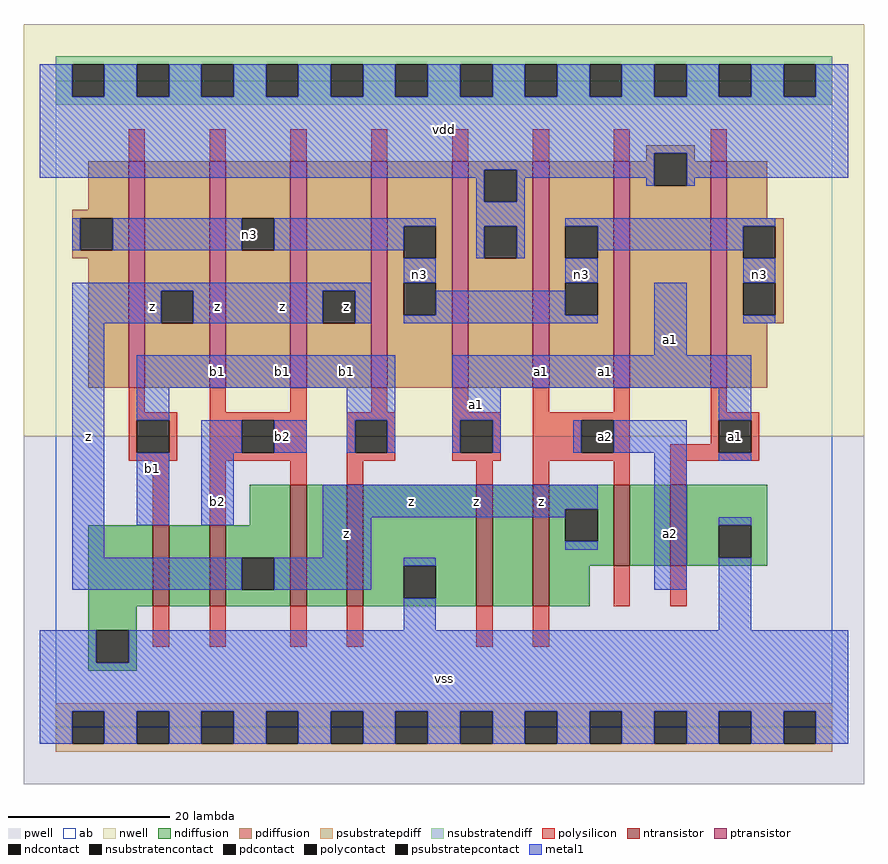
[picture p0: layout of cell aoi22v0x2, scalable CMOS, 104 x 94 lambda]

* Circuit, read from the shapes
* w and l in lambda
.subckt aoi22v0x2 a1 a2 b1 b2 n3 vdd vss z
M1 n1 b1 vss vss nfet w=10 l=2
M2 z b2 n1 vss nfet w=10 l=2
M3 n2 b2 z vss nfet w=15 l=2
M4 vss b1 n2 vss nfet w=15 l=2
M5 n4 a1 vss vss nfet w=15 l=2
M6 z a2 n4 vss nfet w=15 l=2
M7 n5 a2 z vss nfet w=10 l=2
M8 vss a1 n5 vss nfet w=10 l=2
M9 z b1 n3 vdd pfet w=28 l=2 m=2
M10 n3 b2 z vdd pfet w=28 l=2 m=2
M11 vdd a1 n3 vdd pfet w=28 l=2 m=2
M12 n3 a2 vdd vdd pfet w=28 l=2 m=2
.ends

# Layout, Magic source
magic
tech scmos
<< ab >>
rect 0 0 96 80
<< pwell >>
rect -4 -7 100 36
<< nwell >>
rect -4 36 100 87
<< polysilicon >>
rect 9 70 11 74
rect 19 70 21 74
rect 29 70 31 74
rect 39 70 41 74
rect 49 70 51 74
rect 59 70 61 74
rect 69 70 71 74
rect 81 70 83 74
rect 9 39 11 42
rect 19 39 21 42
rect 29 39 31 42
rect 39 39 41 42
rect 49 39 51 42
rect 59 39 61 42
rect 69 39 71 42
rect 9 38 15 39
rect 9 34 10 38
rect 14 34 15 38
rect 9 33 15 34
rect 19 38 31 39
rect 19 34 23 38
rect 27 34 31 38
rect 19 33 31 34
rect 12 25 14 33
rect 19 25 21 33
rect 29 30 31 33
rect 36 38 42 39
rect 36 34 37 38
rect 41 34 42 38
rect 36 33 42 34
rect 49 38 55 39
rect 49 34 50 38
rect 54 34 55 38
rect 49 33 55 34
rect 59 38 71 39
rect 59 34 65 38
rect 69 34 71 38
rect 81 39 83 42
rect 81 38 87 39
rect 81 35 82 38
rect 59 33 71 34
rect 36 30 38 33
rect 52 30 54 33
rect 59 30 61 33
rect 69 30 71 33
rect 76 34 82 35
rect 86 34 87 38
rect 76 33 87 34
rect 76 30 78 33
rect 69 15 71 20
rect 76 15 78 20
rect 12 10 14 15
rect 19 10 21 15
rect 29 10 31 15
rect 36 10 38 15
rect 52 10 54 15
rect 59 10 61 15
<< ndiffusion >>
rect 24 25 29 30
rect 4 15 12 25
rect 14 15 19 25
rect 21 21 29 25
rect 21 17 23 21
rect 27 17 29 21
rect 21 15 29 17
rect 31 15 36 30
rect 38 20 52 30
rect 38 16 43 20
rect 47 16 52 20
rect 38 15 52 16
rect 54 15 59 30
rect 61 27 69 30
rect 61 23 63 27
rect 67 23 69 27
rect 61 20 69 23
rect 71 20 76 30
rect 78 25 88 30
rect 78 21 82 25
rect 86 21 88 25
rect 78 20 88 21
rect 61 15 66 20
rect 4 12 10 15
rect 4 8 5 12
rect 9 8 10 12
rect 4 7 10 8
<< pdiffusion >>
rect 73 71 79 72
rect 73 70 74 71
rect 4 64 9 70
rect 2 63 9 64
rect 2 59 3 63
rect 7 59 9 63
rect 2 58 9 59
rect 4 42 9 58
rect 11 54 19 70
rect 11 50 13 54
rect 17 50 19 54
rect 11 42 19 50
rect 21 63 29 70
rect 21 59 23 63
rect 27 59 29 63
rect 21 42 29 59
rect 31 54 39 70
rect 31 50 33 54
rect 37 50 39 54
rect 31 42 39 50
rect 41 62 49 70
rect 41 58 43 62
rect 47 58 49 62
rect 41 55 49 58
rect 41 51 43 55
rect 47 51 49 55
rect 41 42 49 51
rect 51 69 59 70
rect 51 65 53 69
rect 57 65 59 69
rect 51 62 59 65
rect 51 58 53 62
rect 57 58 59 62
rect 51 42 59 58
rect 61 62 69 70
rect 61 58 63 62
rect 67 58 69 62
rect 61 55 69 58
rect 61 51 63 55
rect 67 51 69 55
rect 61 42 69 51
rect 71 67 74 70
rect 78 70 79 71
rect 78 67 81 70
rect 71 42 81 67
rect 83 63 88 70
rect 83 62 90 63
rect 83 58 85 62
rect 89 58 90 62
rect 83 55 90 58
rect 83 51 85 55
rect 89 51 90 55
rect 83 50 90 51
rect 83 42 88 50
<< metal1 >>
rect -2 78 2 82
rect 6 78 10 82
rect 14 78 18 82
rect 22 78 26 82
rect 30 78 34 82
rect 38 78 42 82
rect 46 78 50 82
rect 54 78 58 82
rect 62 78 66 82
rect 70 78 74 82
rect 78 78 82 82
rect 86 78 90 82
rect 94 78 98 82
rect -2 71 98 78
rect -2 69 74 71
rect -2 68 53 69
rect 52 65 53 68
rect 57 68 74 69
rect 57 65 58 68
rect 73 67 74 68
rect 78 68 98 71
rect 78 67 79 68
rect 2 59 3 63
rect 7 59 23 63
rect 27 62 47 63
rect 27 59 43 62
rect 52 62 58 65
rect 52 58 53 62
rect 57 58 58 62
rect 63 62 89 63
rect 67 59 85 62
rect 43 55 47 58
rect 2 54 39 55
rect 2 50 13 54
rect 17 50 33 54
rect 37 50 39 54
rect 63 55 67 58
rect 85 55 89 58
rect 47 51 63 54
rect 43 50 67 51
rect 2 21 6 50
rect 74 46 78 55
rect 85 50 89 51
rect 10 42 42 46
rect 10 38 14 42
rect 36 38 42 42
rect 10 25 14 34
rect 18 34 23 38
rect 27 34 31 38
rect 36 34 37 38
rect 41 34 42 38
rect 49 42 86 46
rect 49 38 55 42
rect 82 38 86 42
rect 49 34 50 38
rect 54 34 55 38
rect 64 34 65 38
rect 69 34 78 38
rect 18 25 22 34
rect 33 27 67 30
rect 33 26 63 27
rect 33 21 39 26
rect 63 22 67 23
rect 2 17 23 21
rect 27 17 39 21
rect 43 20 47 21
rect 74 17 78 34
rect 82 33 86 34
rect 82 25 86 26
rect 43 12 47 16
rect 82 12 86 21
rect -2 8 5 12
rect 9 8 98 12
rect -2 2 98 8
rect -2 -2 2 2
rect 6 -2 10 2
rect 14 -2 18 2
rect 22 -2 26 2
rect 30 -2 34 2
rect 38 -2 42 2
rect 46 -2 50 2
rect 54 -2 58 2
rect 62 -2 66 2
rect 70 -2 74 2
rect 78 -2 82 2
rect 86 -2 90 2
rect 94 -2 98 2
<< ntransistor >>
rect 12 15 14 25
rect 19 15 21 25
rect 29 15 31 30
rect 36 15 38 30
rect 52 15 54 30
rect 59 15 61 30
rect 69 20 71 30
rect 76 20 78 30
<< ptransistor >>
rect 9 42 11 70
rect 19 42 21 70
rect 29 42 31 70
rect 39 42 41 70
rect 49 42 51 70
rect 59 42 61 70
rect 69 42 71 70
rect 81 42 83 70
<< polycontact >>
rect 10 34 14 38
rect 23 34 27 38
rect 37 34 41 38
rect 50 34 54 38
rect 65 34 69 38
rect 82 34 86 38
<< ndcontact >>
rect 23 17 27 21
rect 43 16 47 20
rect 63 23 67 27
rect 82 21 86 25
rect 5 8 9 12
<< pdcontact >>
rect 3 59 7 63
rect 13 50 17 54
rect 23 59 27 63
rect 33 50 37 54
rect 43 58 47 62
rect 43 51 47 55
rect 53 65 57 69
rect 53 58 57 62
rect 63 58 67 62
rect 63 51 67 55
rect 74 67 78 71
rect 85 58 89 62
rect 85 51 89 55
<< psubstratepcontact >>
rect 2 -2 6 2
rect 10 -2 14 2
rect 18 -2 22 2
rect 26 -2 30 2
rect 34 -2 38 2
rect 42 -2 46 2
rect 50 -2 54 2
rect 58 -2 62 2
rect 66 -2 70 2
rect 74 -2 78 2
rect 82 -2 86 2
rect 90 -2 94 2
<< nsubstratencontact >>
rect 2 78 6 82
rect 10 78 14 82
rect 18 78 22 82
rect 26 78 30 82
rect 34 78 38 82
rect 42 78 46 82
rect 50 78 54 82
rect 58 78 62 82
rect 66 78 70 82
rect 74 78 78 82
rect 82 78 86 82
rect 90 78 94 82
<< psubstratepdiff >>
rect 0 2 96 3
rect 0 -2 2 2
rect 6 -2 10 2
rect 14 -2 18 2
rect 22 -2 26 2
rect 30 -2 34 2
rect 38 -2 42 2
rect 46 -2 50 2
rect 54 -2 58 2
rect 62 -2 66 2
rect 70 -2 74 2
rect 78 -2 82 2
rect 86 -2 90 2
rect 94 -2 96 2
rect 0 -3 96 -2
<< nsubstratendiff >>
rect 0 82 96 83
rect 0 78 2 82
rect 6 78 10 82
rect 14 78 18 82
rect 22 78 26 82
rect 30 78 34 82
rect 38 78 42 82
rect 46 78 50 82
rect 54 78 58 82
rect 62 78 66 82
rect 70 78 74 82
rect 78 78 82 82
rect 86 78 90 82
rect 94 78 96 82
rect 0 77 96 78
<< labels >>
rlabel metal1 12 32 12 32 6 b1
rlabel metal1 4 36 4 36 6 z
rlabel metal1 12 52 12 52 6 z
rlabel metal1 20 28 20 28 6 b2
rlabel metal1 20 44 20 44 6 b1
rlabel metal1 28 36 28 36 6 b2
rlabel metal1 28 44 28 44 6 b1
rlabel metal1 28 52 28 52 6 z
rlabel metal1 20 52 20 52 6 z
rlabel metal1 48 6 48 6 6 vss
rlabel metal1 36 24 36 24 6 z
rlabel metal1 44 28 44 28 6 z
rlabel metal1 52 28 52 28 6 z
rlabel metal1 36 44 36 44 6 b1
rlabel metal1 52 40 52 40 6 a1
rlabel metal1 45 56 45 56 6 n3
rlabel pdcontact 36 52 36 52 6 z
rlabel pdcontact 24 61 24 61 6 n3
rlabel metal1 48 74 48 74 6 vdd
rlabel metal1 60 28 60 28 6 z
rlabel metal1 76 24 76 24 6 a2
rlabel metal1 60 44 60 44 6 a1
rlabel polycontact 68 36 68 36 6 a2
rlabel metal1 68 44 68 44 6 a1
rlabel metal1 76 48 76 48 6 a1
rlabel metal1 65 56 65 56 6 n3
rlabel polycontact 84 36 84 36 6 a1
rlabel metal1 87 56 87 56 6 n3
<< end >>
